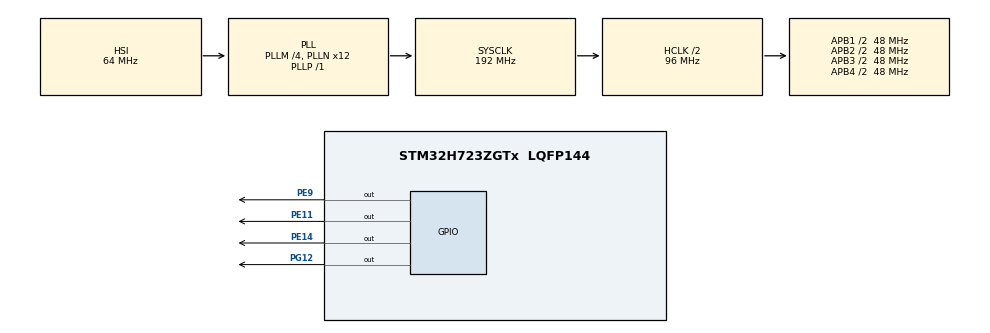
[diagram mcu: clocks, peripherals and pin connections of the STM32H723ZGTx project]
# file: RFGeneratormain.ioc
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CORTEX_M7.default_mode_Activation=1
Mcu.Family=STM32H7
Mcu.Name=STM32H723ZGTx
Mcu.Package=LQFP144
NUCLEO-H723ZG.BUTTON=1
NUCLEO-H723ZG.LD1=true
NUCLEO-H723ZG.LD2=true
NUCLEO-H723ZG.LD3=true
NUCLEO-H723ZG.VCP=true
NVIC.EXTI15_10_IRQn=true\:0\:0\:false\:false\:true\:false\:true\:true
NVIC.PriorityGroup=NVIC_PRIORITYGROUP_4
PA13(JTMS/SWDIO).GPIO_Label=SWDIO
PA13(JTMS/SWDIO).Signal=DEBUG_JTMS-SWDIO
PA14(JTCK/SWCLK).GPIO_Label=SWCLK
PA14(JTCK/SWCLK).Signal=DEBUG_JTCK-SWCLK
PC14-OSC32_IN.Signal=RCC_OSC32_IN
PC15-OSC32_OUT.Signal=RCC_OSC32_OUT
PD8.Signal=USART3_TX
PD9.Signal=USART3_RX
PE11.Signal=GPIO_Output
PE14.Signal=GPIO_Output
PE9.Signal=GPIO_Output
PG12.Signal=GPIO_Output
ProjectManager.HeapSize=0x200
ProjectManager.StackSize=0x400
ProjectManager.TargetToolchain=CMake
RCC.ADCFreq_Value=608000000
RCC.APB1Freq_Value=48000000
RCC.APB2Freq_Value=48000000
RCC.APB3Freq_Value=48000000
RCC.APB4Freq_Value=48000000
RCC.CortexFreq_Value=192000000
RCC.D1PPRE=RCC_APB3_DIV2
RCC.D2PPRE1=RCC_APB1_DIV2
RCC.D2PPRE2=RCC_APB2_DIV2
RCC.D3PPRE=RCC_APB4_DIV2
RCC.DIVM1=4
RCC.DIVM2=1
RCC.DIVN1=12
RCC.DIVN2=19
RCC.DIVP1=1
RCC.DIVQ1=4
RCC.HCLKFreq_Value=96000000
RCC.HPRE=RCC_HCLK_DIV2
RCC.HSE_VALUE=8000000
RCC.PLLFRACN=0
RCC.SYSCLKFreq_VALUE=192000000
RCC.SYSCLKSource=RCC_SYSCLKSOURCE_PLLCLK
RCC.USBCLockSelection=RCC_USBCLKSOURCE_HSI48
RCC.USBFreq_Value=48000000
VP_NUCLEO-H723ZG_VS_BSP_COMMON.Mode=COMMON
board=NUCLEO-H723ZG

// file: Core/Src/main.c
/* USER CODE BEGIN Header */
/**
  ******************************************************************************
  * @file           : main.c
  * @brief          : Main program body
  ******************************************************************************
  * @attention
  *
  * Copyright (c) 2026 STMicroelectronics.
  * All rights reserved.
  *
  * This software is licensed under terms that can be found in the LICENSE file
  * in the root directory of this software component.
  * If no LICENSE file comes with this software, it is provided AS-IS.
  *
  ******************************************************************************
  */
/* USER CODE END Header */
#include "main.h"
#include <stdlib.h>
#include <string.h>

/* USER CODE BEGIN Includes */
#include "ad9851.h"
#include "ad603.h"
/* USER CODE END Includes */

/* USER CODE BEGIN PD */
#define DDS_MIN_FREQUENCY_HZ        (0UL)
#define DDS_MAX_FREQUENCY_HZ        (10000000UL)
#define DDS_COMMAND_BUFFER_SIZE     (48U)
#define DDS_COMMAND_IDLE_TIMEOUT_MS (250UL)
#define DDS_MIN_AMPLITUDE_PCT       (0U)
#define DDS_MAX_AMPLITUDE_PCT       (100U)
/* USER CODE END PD */

COM_InitTypeDef BspCOMInit;

/* USER CODE BEGIN PV */
AD9851_HandleTypeDef hdds;
AD603_HandleTypeDef  hvga;
static volatile uint32_t dds_requested_frequency_hz = 7700000UL;
static uint32_t dds_active_frequency_hz = 0UL;
static volatile uint8_t dds_requested_amplitude_pct = 100U;
static uint8_t dds_active_amplitude_pct = 255U; /* 255 = uninitialised, forces first apply */
static char dds_command_buffer[DDS_COMMAND_BUFFER_SIZE];
static uint32_t dds_command_length = 0UL;
static volatile uint8_t dds_command_ready = 0U;
static volatile uint8_t dds_command_overflow = 0U;
static uint8_t dds_console_rx_byte = 0U;
static uint32_t dds_last_command_byte_tick = 0UL;
/* USER CODE END PV */

void SystemClock_Config(void);
static void MPU_Config(void);
static void MX_GPIO_Init(void);
/* USER CODE BEGIN PFP */
static void DDS_ApplyFrequency(void);
static void DAC_Init(void);
static void DAC_SetAmplitude(uint8_t pct);
static void Console_StartRx(void);
static void Console_ProcessCommand(void);
static void Sweep_Run(float db_start, float db_end, float db_step, uint32_t step_ms);
/* USER CODE END PFP */

int main(void)
{

  /* MPU Configuration--------------------------------------------------------*/
  MPU_Config();

  /* MCU Configuration--------------------------------------------------------*/

  /* Reset of all peripherals, Initializes the Flash interface and the Systick. */
  HAL_Init();

  /* Configure the system clock */
  SystemClock_Config();

  /* Initialize all configured peripherals */
  MX_GPIO_Init();
  /* USER CODE BEGIN 2 */
  /* ============================================================
   *  SAFETY-CRITICAL BOOT ORDER
   *  Step 1: bring up the AD603 VGA in its muted state (Vctl=0V)
   *          BEFORE any RF appears at its input.
   *  Step 2: only then enable the AD9851 DDS.
   *  If we reverse this, the AD603 may briefly sit at full gain
   *  while RF arrives, slamming the LM7171/PA/transformer.
   * ============================================================ */
  hvga.dac     = DAC1;
  hvga.channel = 1U;            /* DAC1_OUT1 -> PA4 -> AD603 DA-input */
  hvga.slope_db_per_v = 0.0f;   /* Init() seeds defaults if zero      */
  hvga.offset_db      = 0.0f;
  if (AD603_Init(&hvga) != HAL_OK)
  {
    Error_Handler();
  }

  hdds.W_CLK_Port = AD9851_W_CLK_GPIO_Port;
  hdds.W_CLK_Pin = AD9851_W_CLK_Pin;

  hdds.FQ_UD_Port = AD9851_FQ_UD_GPIO_Port;
  hdds.FQ_UD_Pin = AD9851_FQ_UD_Pin;

  hdds.DATA_Port = AD9851_DATA_GPIO_Port;
  hdds.DATA_Pin = AD9851_DATA_Pin;

  hdds.RESET_Port = AD9851_RESET_GPIO_Port;
  hdds.RESET_Pin = AD9851_RESET_Pin;

  hdds.reference_clock_hz = 30000000U;
  hdds.enable_x6_multiplier = 1U;

  AD9851_Init(&hdds);            /* AD603 already muted — RF safe to enable */
  HAL_Delay(10);
  DAC_Init();

  /* Initialize COM1 port (115200, 8 bits (7-bit data + 1 stop bit), no parity */
  BspCOMInit.BaudRate   = 115200;
  BspCOMInit.WordLength = COM_WORDLENGTH_8B;
  BspCOMInit.StopBits   = COM_STOPBITS_1;
  BspCOMInit.Parity     = COM_PARITY_NONE;
  BspCOMInit.HwFlowCtl  = COM_HWCONTROL_NONE;
  if (BSP_COM_Init(COM1, &BspCOMInit) != BSP_ERROR_NONE)
  {
    Error_Handler();
  }
  /* Enable USART3 interrupt in NVIC so HAL_UART_Receive_IT callbacks fire */
  HAL_NVIC_SetPriority(USART3_IRQn, 5, 0);
  HAL_NVIC_EnableIRQ(USART3_IRQn);
#if (USE_COM_LOG > 0)
  BSP_COM_SelectLogPort(COM1);
#endif

  printf("\r\nRF generator console ready. AD603 muted at boot.\r\n");
  printf("Frequency : '<num>[ Hz|kHz|MHz]'   e.g. 7.7 MHz\r\n");
  printf("Gain      : 'gain <dB>'  /  'vctl <volts>'  /  'mute'\r\n");
  printf("Sweep     : 'sweep'   (0->80 dB, 5 dB steps, 200 ms each)\r\n");
  printf("Calibrate : 'cal <v1> <db1> <v2> <db2>'   (RAM only)\r\n");
  printf("Status    : 'status'\r\n");
  Console_StartRx();
  DDS_ApplyFrequency();
  /* USER CODE END 2 */

  /* Initialize leds */
  BSP_LED_Init(LED_GREEN);
  BSP_LED_Init(LED_YELLOW);
  BSP_LED_Init(LED_RED);

  /* Initialize USER push-button, will be used to trigger an interrupt each time it's pressed.*/
  BSP_PB_Init(BUTTON_USER, BUTTON_MODE_EXTI);

  /* Infinite loop */
  while (1)
  {

    /* USER CODE BEGIN 3 */
    if (dds_command_overflow != 0U)
    {
      dds_command_overflow = 0U;
      printf("\r\n[DDS] Command too long. Clearing buffer.\r\n");
    }

    if (dds_command_ready != 0U)
    {
      Console_ProcessCommand();
    }
    else if ((dds_command_length > 0U) &&
             ((HAL_GetTick() - dds_last_command_byte_tick) >= DDS_COMMAND_IDLE_TIMEOUT_MS))
    {
      dds_command_ready = 1U;
      Console_ProcessCommand();
    }

    if (dds_active_frequency_hz != dds_requested_frequency_hz)
    {
      DDS_ApplyFrequency();
    }

    if (dds_active_amplitude_pct != dds_requested_amplitude_pct)
    {
      dds_active_amplitude_pct = dds_requested_amplitude_pct;
      DAC_SetAmplitude(dds_active_amplitude_pct);
      printf("[AMP] Applied %u%%\r\n", (unsigned)dds_active_amplitude_pct);
    }

    BSP_LED_Toggle(LED_GREEN);
    HAL_Delay(500);
  }
  /* USER CODE END 3 */
}

void SystemClock_Config(void)
{
  RCC_OscInitTypeDef RCC_OscInitStruct = {0};
  RCC_ClkInitTypeDef RCC_ClkInitStruct = {0};

  /** Supply configuration update enable
  */
  HAL_PWREx_ConfigSupply(PWR_LDO_SUPPLY);

  /** Configure the main internal regulator output voltage
  */
  __HAL_PWR_VOLTAGESCALING_CONFIG(PWR_REGULATOR_VOLTAGE_SCALE2);

  while(!__HAL_PWR_GET_FLAG(PWR_FLAG_VOSRDY)) {}

  /** Initializes the RCC Oscillators according to the specified parameters
  * in the RCC_OscInitTypeDef structure.
  */
  RCC_OscInitStruct.OscillatorType = RCC_OSCILLATORTYPE_HSI;
  RCC_OscInitStruct.HSIState = RCC_HSI_DIV1;
  RCC_OscInitStruct.HSICalibrationValue = 64;
  RCC_OscInitStruct.PLL.PLLState = RCC_PLL_ON;
  RCC_OscInitStruct.PLL.PLLSource = RCC_PLLSOURCE_HSI;
  RCC_OscInitStruct.PLL.PLLM = 4;
  RCC_OscInitStruct.PLL.PLLN = 12;
  RCC_OscInitStruct.PLL.PLLP = 1;
  RCC_OscInitStruct.PLL.PLLQ = 4;
  RCC_OscInitStruct.PLL.PLLR = 2;
  RCC_OscInitStruct.PLL.PLLRGE = RCC_PLL1VCIRANGE_3;
  RCC_OscInitStruct.PLL.PLLVCOSEL = RCC_PLL1VCOWIDE;
  RCC_OscInitStruct.PLL.PLLFRACN = 0;
  if (HAL_RCC_OscConfig(&RCC_OscInitStruct) != HAL_OK)
  {
    Error_Handler();
  }

  /** Initializes the CPU, AHB and APB buses clocks
  */
  RCC_ClkInitStruct.ClockType = RCC_CLOCKTYPE_HCLK|RCC_CLOCKTYPE_SYSCLK
                              |RCC_CLOCKTYPE_PCLK1|RCC_CLOCKTYPE_PCLK2
                              |RCC_CLOCKTYPE_D3PCLK1|RCC_CLOCKTYPE_D1PCLK1;
  RCC_ClkInitStruct.SYSCLKSource = RCC_SYSCLKSOURCE_PLLCLK;
  RCC_ClkInitStruct.SYSCLKDivider = RCC_SYSCLK_DIV1;
  RCC_ClkInitStruct.AHBCLKDivider = RCC_HCLK_DIV2;
  RCC_ClkInitStruct.APB3CLKDivider = RCC_APB3_DIV2;
  RCC_ClkInitStruct.APB1CLKDivider = RCC_APB1_DIV2;
  RCC_ClkInitStruct.APB2CLKDivider = RCC_APB2_DIV2;
  RCC_ClkInitStruct.APB4CLKDivider = RCC_APB4_DIV2;

  if (HAL_RCC_ClockConfig(&RCC_ClkInitStruct, FLASH_LATENCY_1) != HAL_OK)
  {
    Error_Handler();
  }
}

static void MX_GPIO_Init(void)
{
  GPIO_InitTypeDef GPIO_InitStruct = {0};

  /* GPIO Ports Clock Enable */
  __HAL_RCC_GPIOC_CLK_ENABLE();
  __HAL_RCC_GPIOE_CLK_ENABLE();
  __HAL_RCC_GPIOA_CLK_ENABLE();
  __HAL_RCC_GPIOG_CLK_ENABLE();

  /*Configure GPIO pin Output Level */
  HAL_GPIO_WritePin(GPIOE, GPIO_PIN_9|GPIO_PIN_11|GPIO_PIN_14, GPIO_PIN_RESET);

  /*Configure GPIO pin Output Level */
  HAL_GPIO_WritePin(GPIOG, GPIO_PIN_12, GPIO_PIN_RESET);

  /*Configure GPIO pins : PE9 PE11 PE14 */
  GPIO_InitStruct.Pin = GPIO_PIN_9|GPIO_PIN_11|GPIO_PIN_14;
  GPIO_InitStruct.Mode = GPIO_MODE_OUTPUT_PP;
  GPIO_InitStruct.Pull = GPIO_NOPULL;
  GPIO_InitStruct.Speed = GPIO_SPEED_FREQ_LOW;
  HAL_GPIO_Init(GPIOE, &GPIO_InitStruct);

  /*Configure GPIO pin : PG12 */
  GPIO_InitStruct.Pin = GPIO_PIN_12;
  GPIO_InitStruct.Mode = GPIO_MODE_OUTPUT_PP;
  GPIO_InitStruct.Pull = GPIO_NOPULL;
  GPIO_InitStruct.Speed = GPIO_SPEED_FREQ_LOW;
  HAL_GPIO_Init(GPIOG, &GPIO_InitStruct);

}

/* USER CODE BEGIN 4 */
static void Console_StartRx(void)
{
  HAL_UART_Receive_IT(&hcom_uart[COM1], &dds_console_rx_byte, 1);
  dds_last_command_byte_tick = HAL_GetTick();
}

static void Console_ProcessCommand(void)
{
  char command[DDS_COMMAND_BUFFER_SIZE];

  memcpy(command, dds_command_buffer, dds_command_length);
  command[dds_command_length] = '\0';

  dds_command_length = 0U;
  dds_command_ready = 0U;
  dds_last_command_byte_tick = HAL_GetTick();

  if (command[0] == '\0')
  {
    return;
  }

  printf("[DDS] Acknowledged \"%s\"\r\n", command);

  if (strcmp(command, "status") == 0)
  {
    printf("[DDS] Requested %lu Hz, active %lu Hz\r\n",
           (unsigned long)dds_requested_frequency_hz,
           (unsigned long)dds_active_frequency_hz);
    printf("[VGA] Vctl=%.4f V, Gain=%.2f dB, slope=%.2f dB/V, offset=%.2f dB\r\n",
           (double)AD603_GetControlVoltage(&hvga),
           (double)AD603_GetGainDb(&hvga),
           (double)hvga.slope_db_per_v,
           (double)hvga.offset_db);
    return;
  }

  /* "mute" — drive AD603 to 0 V (minimum gain). */
  if (strcmp(command, "mute") == 0)
  {
    if (AD603_Mute(&hvga) == HAL_OK) {
      printf("[VGA] Muted (Vctl=0 V).\r\n");
    } else {
      printf("[VGA] Mute failed.\r\n");
    }
    return;
  }

  /* "gain <dB>" — request gain in dB. Driver clamps to safe range. */
  if (strncmp(command, "gain ", 5) == 0)
  {
    char *p = NULL;
    float db = (float)strtod(command + 5, &p);
    if ((p == command + 5) || (*p != '\0')) {
      printf("[VGA] Invalid: '%s'. Use: gain <dB>\r\n", command + 5);
      return;
    }
    if (AD603_SetGainDb(&hvga, db) != HAL_OK) {
      printf("[VGA] SetGainDb failed.\r\n");
      return;
    }
    printf("[VGA] Gain=%.2f dB (Vctl=%.4f V)\r\n",
           (double)AD603_GetGainDb(&hvga),
           (double)AD603_GetControlVoltage(&hvga));
    return;
  }

  /* "vctl <volts>" — request control voltage directly. Hard-clamped to 1.0 V. */
  if (strncmp(command, "vctl ", 5) == 0)
  {
    char *p = NULL;
    float v = (float)strtod(command + 5, &p);
    if ((p == command + 5) || (*p != '\0')) {
      printf("[VGA] Invalid: '%s'. Use: vctl <volts, 0..1>\r\n", command + 5);
      return;
    }
    if (AD603_SetControlVoltage(&hvga, v) != HAL_OK) {
      printf("[VGA] SetControlVoltage failed.\r\n");
      return;
    }
    printf("[VGA] Vctl=%.4f V (Gain=%.2f dB)\r\n",
           (double)AD603_GetControlVoltage(&hvga),
           (double)AD603_GetGainDb(&hvga));
    return;
  }

  /* "cal v1 db1 v2 db2" — two-point calibration (RAM only, lost on reset). */
  if (strncmp(command, "cal ", 4) == 0)
  {
    float v1, db1, v2, db2;
    char *p = command + 4;
    char *q;
    v1  = (float)strtod(p, &q); if (q == p) goto cal_err; p = q;
    db1 = (float)strtod(p, &q); if (q == p) goto cal_err; p = q;
    v2  = (float)strtod(p, &q); if (q == p) goto cal_err; p = q;
    db2 = (float)strtod(p, &q); if (q == p) goto cal_err;
    if (AD603_Calibrate(&hvga, v1, db1, v2, db2) != HAL_OK) {
      printf("[VGA] Calibration rejected (v1==v2, out of range, or bad slope).\r\n");
      return;
    }
    printf("[VGA] Calibrated. slope=%.3f dB/V, offset=%.3f dB\r\n",
           (double)hvga.slope_db_per_v,
           (double)hvga.offset_db);
    /* Re-mute after calibration so we never sit at a stale Vctl. */
    AD603_Mute(&hvga);
    return;
cal_err:
    printf("[VGA] Invalid: use 'cal <v1> <db1> <v2> <db2>'\r\n");
    return;
  }

  /* "sweep" / "sweep <start> <end> <step> <ms>" — gain ramp test. BLOCKING. */
  if (strncmp(command, "sweep", 5) == 0 &&
      (command[5] == '\0' || command[5] == ' '))
  {
    float    s = 0.0f, e = AD603_MAX_GAIN_DB, st = 5.0f;
    uint32_t ms = 200U;
    if (command[5] == ' ') {
      char *p = command + 6, *q;
      s  = (float)strtod(p, &q); if (q != p) p = q;
      e  = (float)strtod(p, &q); if (q != p) p = q;
      st = (float)strtod(p, &q); if (q != p) p = q;
      ms = (uint32_t)strtoul(p, &q, 10);
      if (ms == 0U) ms = 200U;
    }
    Sweep_Run(s, e, st, ms);
    return;
  }

  /* Parse numeric part (supports decimals, e.g. 7.7) */
  char *endptr = NULL;
  double value_d = strtod(command, &endptr);

  if (endptr == command)
  {
    printf("[DDS] Invalid command '%s'\r\n", command);
    return;
  }

  /* Skip optional whitespace between number and unit */
  while (*endptr == ' ') { endptr++; }

  /* Parse optional unit suffix (case-insensitive) */
  double multiplier = 1.0;
  char u0 = (char)((*endptr >= 'a') ? *endptr - 32 : *endptr);         /* uppercase first char  */
  char u1 = (char)((endptr[1] >= 'a') ? endptr[1] - 32 : endptr[1]);   /* uppercase second char */
  char u2 = (char)((endptr[2] >= 'a') ? endptr[2] - 32 : endptr[2]);   /* uppercase third char  */

  if (u0 == 'M' && u1 == 'H' && u2 == 'Z' && endptr[3] == '\0')
  {
    multiplier = 1000000.0; endptr += 3;
  }
  else if (u0 == 'M' && endptr[1] == '\0')
  {
    multiplier = 1000000.0; endptr += 1;
  }
  else if (u0 == 'K' && u1 == 'H' && u2 == 'Z' && endptr[3] == '\0')
  {
    multiplier = 1000.0; endptr += 3;
  }
  else if (u0 == 'K' && endptr[1] == '\0')
  {
    multiplier = 1000.0; endptr += 1;
  }
  else if (u0 == 'H' && u1 == 'Z' && endptr[2] == '\0')
  {
    /* explicit Hz — no scaling */ endptr += 2;
  }
  else if (*endptr != '\0')
  {
    printf("[DDS] Unknown unit in '%s'. Use Hz, kHz, or MHz.\r\n", command);
    return;
  }

  double scaled = value_d * multiplier + 0.5;
  if (scaled < 0.0)                   { scaled = 0.0; }
  if (scaled > (double)UINT32_MAX)    { scaled = (double)UINT32_MAX; }

  dds_requested_frequency_hz = (uint32_t)scaled;
  printf("[DDS] Requesting %lu Hz\r\n", (unsigned long)dds_requested_frequency_hz);
}

static void DDS_ApplyFrequency(void)
{
  uint32_t requested = dds_requested_frequency_hz;

  if (requested > DDS_MAX_FREQUENCY_HZ)
  {
    requested = DDS_MAX_FREQUENCY_HZ;
  }
  else if (requested < DDS_MIN_FREQUENCY_HZ)
  {
    requested = DDS_MIN_FREQUENCY_HZ;
  }

  AD9851_SetFrequency(&hdds, requested);
  dds_active_frequency_hz = requested;

  printf("[DDS] Applied %lu Hz\r\n", (unsigned long)dds_active_frequency_hz);
}

static void Sweep_Run(float db_start, float db_end, float db_step, uint32_t step_ms)
{
  /* Defensive bounds — driver clamps too, but keep loop sane. */
  if (db_step <= 0.0f) db_step = 1.0f;
  if (step_ms == 0U)   step_ms = 50U;
  if (db_start < AD603_MIN_GAIN_DB) db_start = AD603_MIN_GAIN_DB;
  if (db_end   > AD603_MAX_GAIN_DB) db_end   = AD603_MAX_GAIN_DB;

  printf("[VGA] Sweep %.1f -> %.1f dB step %.1f dB, %lu ms/step\r\n",
         (double)db_start, (double)db_end, (double)db_step,
         (unsigned long)step_ms);

  for (float g = db_start; g <= db_end + 0.001f; g += db_step)
  {
    AD603_SetGainDb(&hvga, g);
    printf("[VGA] %.2f dB  (Vctl=%.4f V)\r\n",
           (double)AD603_GetGainDb(&hvga),
           (double)AD603_GetControlVoltage(&hvga));
    HAL_Delay(step_ms);
  }

  /* SAFETY: always finish a sweep with the device muted. */
  AD603_Mute(&hvga);
  printf("[VGA] Sweep done. Muted.\r\n");
}

void HAL_UART_RxCpltCallback(UART_HandleTypeDef *huart)
{
  if (huart == &hcom_uart[COM1])
  {
    uint8_t byte = dds_console_rx_byte;

    if (dds_command_ready != 0U)
    {
      HAL_UART_Receive_IT(huart, &dds_console_rx_byte, 1);
      return;
    }

    dds_last_command_byte_tick = HAL_GetTick();

    if ((byte == '\r') || (byte == '\n'))
    {
      if (dds_command_length > 0U)
      {
        dds_command_ready = 1U;
      }
    }
    else
    {
      if (dds_command_length < (DDS_COMMAND_BUFFER_SIZE - 1U))
      {
        dds_command_buffer[dds_command_length++] = (char)byte;
      }
      else
      {
        dds_command_length = 0U;
        dds_command_overflow = 1U;
      }
    }

    HAL_UART_Receive_IT(huart, &dds_console_rx_byte, 1);
  }
}

/* USER CODE END 4 */

 /* MPU Configuration */

void MPU_Config(void)
{
  MPU_Region_InitTypeDef MPU_InitStruct = {0};

  /* Disables the MPU */
  HAL_MPU_Disable();

  /** Initializes and configures the Region and the memory to be protected
  */
  MPU_InitStruct.Enable = MPU_REGION_ENABLE;
  MPU_InitStruct.Number = MPU_REGION_NUMBER0;
  MPU_InitStruct.BaseAddress = 0x0;
  MPU_InitStruct.Size = MPU_REGION_SIZE_4GB;
  MPU_InitStruct.SubRegionDisable = 0x87;
  MPU_InitStruct.TypeExtField = MPU_TEX_LEVEL0;
  MPU_InitStruct.AccessPermission = MPU_REGION_NO_ACCESS;
  MPU_InitStruct.DisableExec = MPU_INSTRUCTION_ACCESS_DISABLE;
  MPU_InitStruct.IsShareable = MPU_ACCESS_SHAREABLE;
  MPU_InitStruct.IsCacheable = MPU_ACCESS_NOT_CACHEABLE;
  MPU_InitStruct.IsBufferable = MPU_ACCESS_NOT_BUFFERABLE;

  HAL_MPU_ConfigRegion(&MPU_InitStruct);
  /* Enables the MPU */
  HAL_MPU_Enable(MPU_PRIVILEGED_DEFAULT);

}

void Error_Handler(void)
{
  __disable_irq();
  while (1)
  {
  }
}
